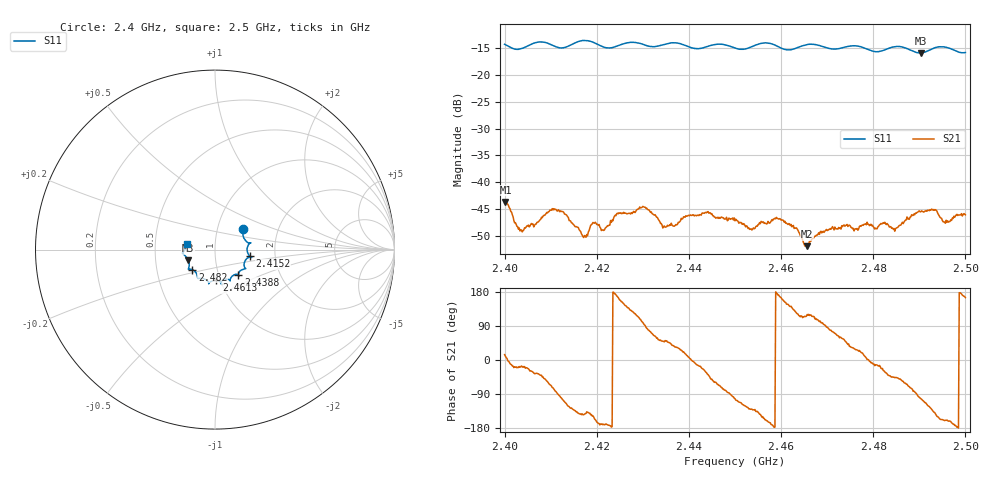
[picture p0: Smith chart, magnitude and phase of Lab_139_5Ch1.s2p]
# Hz S RI R 50
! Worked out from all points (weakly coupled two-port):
!   601 points, 2.4 GHz to 2.5 GHz, reference 50 ohm
!   highest |S21| = -43.67 dB at 2.4002 GHz (marker M1); lowest = -51.9 dB at 2.4657 GHz (marker M2)
!   lowest |S11| = -15.9 dB at 2.4903 GHz (marker M3), VSWR 1.38, Z = 36.8 - j4.43 ohm
!   |S11| at or under -10 dB: start of sweep to end of sweep
!   S12 and S22 are empty: the file has one direction only
!   S11 on the Smith chart (normalised r, x): 2.4 GHz: 1.33, +0.31; 2.4152 GHz: 1.48, -0.12; 2.4388 GHz: 1.24, -0.36; 2.4613 GHz: 0.96, -0.34; 2.482 GHz: 0.76, -0.17; 2.5 GHz: 0.72, +0.05
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2.4e9  0.1571 0.1124  0.00622 0.00156  0 0  0 0
2.400167e9  0.1565 0.1103  0.00645 0.00118  0 0  0 0
2.4035e9  0.1663 0.0553  0.00345 -0.00108  0 0  0 0
2.410667e9  0.185 0.0246  0.00136 -0.00551  0 0  0 0
2.415167e9  0.1942 -0.0376  -0.00268 -0.00287  0 0  0 0
2.416667e9  0.2038 -0.044  -0.00269 -0.00194  0 0  0 0
2.429833e9  0.1611 -0.1086  -0.00109 0.00574  0 0  0 0
2.433333e9  0.1317 -0.1316  0.00268 0.00365  0 0  0 0
2.434833e9  0.1304 -0.1433  0.00239 0.00297  0 0  0 0
2.438833e9  0.1296 -0.1405  0.00442 0.00176  0 0  0 0
2.45e9  0.0687 -0.1646  -0.000923 -0.00428  0 0  0 0
2.453333e9  0.037 -0.1772  -0.00236 -0.0028  0 0  0 0
2.461333e9  0.00789 -0.1712  -0.00345 0.00223  0 0  0 0
2.465667e9  -0.0347 -0.1887  -0.00128 0.0022  0 0  0 0
2.466667e9  -0.0348 -0.1903  -0.00126 0.00268  0 0  0 0
2.470833e9  -0.0518 -0.1673  0.000727 0.00358  0 0  0 0
2.482e9  -0.1259 -0.1116  0.00381 -0.00157  0 0  0 0
2.483333e9  -0.1397 -0.1089  0.00302 -0.00256  0 0  0 0
2.490333e9  -0.1494 -0.0586  -0.00112 -0.00518  0 0  0 0
2.493333e9  -0.1774 -0.0247  -0.00413 -0.00362  0 0  0 0
2.495833e9  -0.1802 -0.0174  -0.00414 -0.00157  0 0  0 0
2.5e9  -0.1586 0.0327  -0.0048 0.0013  0 0  0 0
